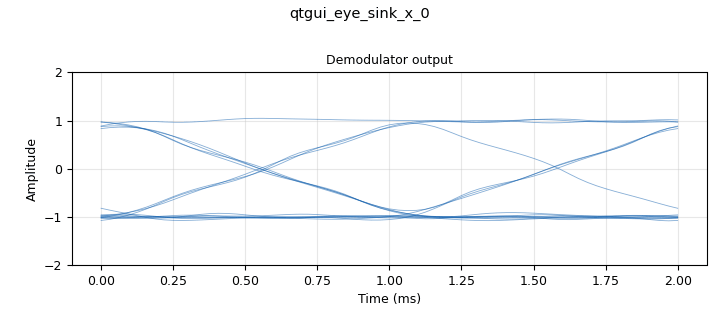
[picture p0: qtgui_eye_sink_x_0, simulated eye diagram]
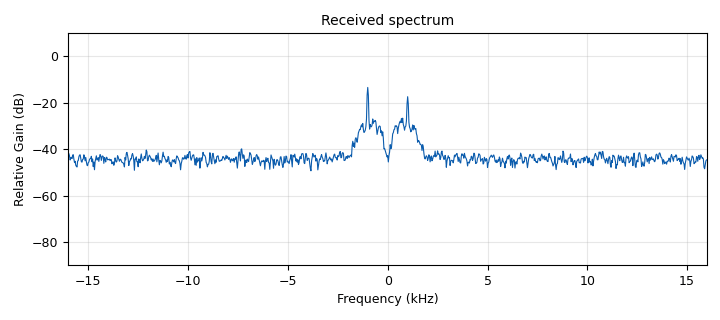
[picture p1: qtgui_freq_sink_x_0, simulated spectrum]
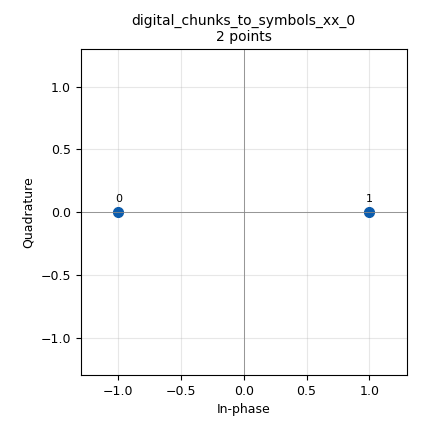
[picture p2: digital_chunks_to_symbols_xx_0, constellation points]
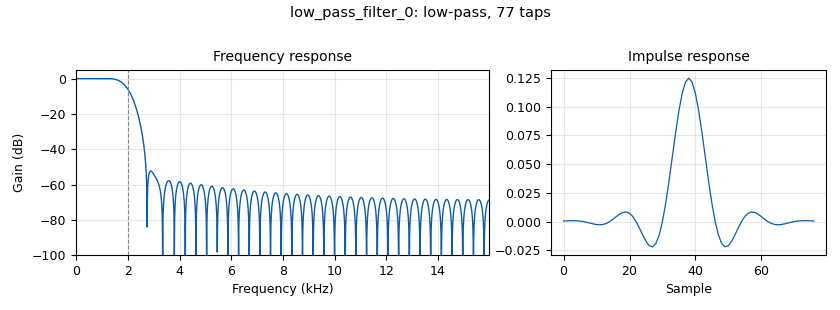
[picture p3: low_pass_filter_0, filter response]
options:
  parameters:
    author: ECE 448
    description: 'L8: a text message through an FSK transmitter, a noisy channel, and an FSK receiver. Raise the noise or the frequency offset until the text breaks.'
    generate_options: qt_gui
    id: L08_fsk_link
    output_language: python
    title: L8 - FSK Link
  states: {}

blocks:
- name: dev
  id: variable
  parameters:
    value: '1000'
  states: {}
- name: foff
  id: variable_qtgui_range
  parameters:
    gui_hint: 0,1,1,1
    label: Frequency offset (Hz)
    start: '-1500'
    step: '50'
    stop: '1500'
    value: '0'
  states: {}
- name: hdr
  id: variable
  parameters:
    value: digital.header_format_default(digital.packet_utils.default_access_code, 0)
  states: {}
- name: msg
  id: variable
  parameters:
    value: '''USAFA ECE 448: FSK over a noisy channel.'''
  states: {}
- name: noise
  id: variable_qtgui_range
  parameters:
    gui_hint: 0,0,1,1
    label: Noise voltage
    start: '0'
    step: '0.05'
    stop: '3'
    value: '0.5'
  states: {}
- name: rx_label
  id: variable_qtgui_label
  parameters:
    formatter: 'lambda x: '':  '' + x'
    gui_hint: 2,0,1,1
    label: Received
    type: string
    value: rx_text
  states: {}
- name: rx_stats
  id: variable_function_probe
  parameters:
    block_id: epy_block_0
    function_name: stats
    poll_rate: '4'
    value: ''''''
  states: {}
- name: rx_text
  id: variable_function_probe
  parameters:
    block_id: epy_block_0
    function_name: last_line
    poll_rate: '4'
    value: '''(waiting for a packet)'''
  states: {}
- name: samp_rate
  id: variable
  parameters:
    value: '32000'
  states: {}
- name: sps
  id: variable
  parameters:
    value: '32'
  states: {}
- name: stats_label
  id: variable_qtgui_label
  parameters:
    formatter: 'lambda x: '':  '' + x'
    gui_hint: 2,1,1,1
    label: Lines
    type: string
    value: rx_stats
  states: {}
- name: analog_frequency_modulator_fc_0
  id: analog_frequency_modulator_fc
  parameters:
    sensitivity: 2*math.pi*dev/samp_rate
  states: {}
- name: analog_quadrature_demod_cf_0
  id: analog_quadrature_demod_cf
  parameters:
    gain: samp_rate/(2*math.pi*dev)
  states: {}
- name: blocks_moving_average_xx_0
  id: blocks_moving_average_xx
  parameters:
    length: sps
    max_iter: '4000'
    scale: 1/sps
    type: float
  states: {}
- name: blocks_repack_bits_bb_0
  id: blocks_repack_bits_bb
  parameters:
    endianness: gr.GR_MSB_FIRST
    k: '1'
    l: '8'
    len_tag_key: '"packet_len"'
  states: {}
- name: blocks_repeat_0
  id: blocks_repeat
  parameters:
    interp: sps
    type: float
  states: {}
- name: blocks_stream_to_tagged_stream_0
  id: blocks_stream_to_tagged_stream
  parameters:
    len_tag_key: '"packet_len"'
    packet_len: len(msg) + 1
    type: byte
  states: {}
- name: blocks_tagged_stream_mux_0
  id: blocks_tagged_stream_mux
  parameters:
    lengthtagname: '"packet_len"'
    ninputs: '2'
    type: byte
  states: {}
- name: blocks_throttle2_0
  id: blocks_throttle2
  parameters:
    samples_per_second: samp_rate
    type: complex
  states: {}
- name: blocks_unpack_k_bits_bb_0
  id: blocks_unpack_k_bits_bb
  parameters:
    k: '8'
  states: {}
- name: blocks_vector_source_x_0
  id: blocks_vector_source_x
  parameters:
    repeat: 'True'
    type: byte
    vector: list(msg.encode()) + [10]
  states: {}
- name: channels_channel_model_0
  id: channels_channel_model
  parameters:
    epsilon: '1.0'
    freq_offset: foff/samp_rate
    noise_voltage: noise
    seed: '0'
    taps: '[1.0]'
  states: {}
- name: digital_binary_slicer_fb_0
  id: digital_binary_slicer_fb
  parameters: {}
  states: {}
- name: digital_chunks_to_symbols_xx_0
  id: digital_chunks_to_symbols_xx
  parameters:
    dimension: '1'
    in_type: byte
    out_type: float
    symbol_table: '[-1, 1]'
  states: {}
- name: digital_correlate_access_code_xx_ts_0
  id: digital_correlate_access_code_xx_ts
  parameters:
    access_code: digital.packet_utils.default_access_code
    tagname: '"packet_len"'
    threshold: '2'
    type: byte
  states: {}
- name: digital_protocol_formatter_bb_0
  id: digital_protocol_formatter_bb
  parameters:
    format: hdr
    len_tag_key: '"packet_len"'
  states: {}
- name: digital_symbol_sync_xx_0
  id: digital_symbol_sync_xx
  parameters:
    damping: '1.0'
    loop_bw: '0.045'
    max_dev: '1.5'
    osps: '1'
    resamp_type: digital.IR_MMSE_8TAP
    sps: sps
    ted_gain: '1.0'
    ted_type: digital.TED_GARDNER
    type: ff
  states: {}
- name: epy_block_0
  id: epy_block
  parameters:
    _source_code: |
      """Text Sink: shows each received packet as a line of text and counts the
      lines that match the transmitted message. The counts restart whenever a
      slider moves, because GRC sets `settings` each time noise or foff changes.
      Function Probes read last_line() and stats() for the QT GUI Labels."""

      import time

      import numpy as np
      import pmt
      from gnuradio import gr


      class blk(gr.sync_block):
          def __init__(self, expected='', settings=None):
              gr.sync_block.__init__(self, name='Text Sink', in_sig=[np.uint8], out_sig=None)
              self.expected = expected
              self.key = pmt.intern('packet_len')
              self.buf = ''
              self.line = '(waiting for a packet)'
              self.settings = settings

          @property
          def settings(self):
              return self._settings

          @settings.setter
          def settings(self, value):
              self._settings = value
              self.good = 0
              self.total = 0
              self.t0 = time.monotonic()

          def work(self, input_items, output_items):
              data = input_items[0]
              start = self.nitems_read(0)
              # Each packet starts with a packet_len tag, so a corrupted newline
              # cannot run two packets together.
              marks = {t.offset - start for t in self.get_tags_in_window(0, 0, len(data), self.key)}
              for i, b in enumerate(data):
                  if i in marks and self.buf:
                      self.finish()
                  self.buf += chr(b) if 32 <= b < 127 or b == 10 else '?'
              return len(data)

          def finish(self):
              self.line = self.buf[:-1] if self.buf.endswith('\n') else self.buf
              self.total += 1
              self.good += self.buf == self.expected + '\n'
              self.buf = ''

          def last_line(self):
              return self.line

          def stats(self):
              return f'{self.good} correct of {self.total} received in {time.monotonic() - self.t0:.0f} s'
    expected: msg
    settings: (noise, foff)
  states: {}
- name: import_0
  id: import
  parameters:
    imports: import math
  states: {}
- name: low_pass_filter_0
  id: low_pass_filter
  parameters:
    cutoff_freq: dev + samp_rate/sps
    decim: '1'
    gain: '1'
    samp_rate: samp_rate
    type: fir_filter_ccf
    width: '1000'
    win: window.WIN_HAMMING
  states: {}
- name: qtgui_eye_sink_x_0
  id: qtgui_eye_sink_x
  parameters:
    entags: 'False'
    grid: 'True'
    gui_hint: 1,1,1,1
    label1: Demodulator output
    legend: 'False'
    samp_per_symbol: sps
    size: '1024'
    srate: samp_rate
    type: float
    update_time: '0.1'
    ymax: '2'
    ymin: '-2'
  states: {}
- name: qtgui_freq_sink_x_0
  id: qtgui_freq_sink_x
  parameters:
    average: '0.1'
    bw: samp_rate
    fc: '0'
    fftsize: '1024'
    grid: 'True'
    gui_hint: 1,0,1,1
    legend: 'False'
    name: '"Received spectrum"'
    type: complex
    ymin: '-90'
  states: {}

connections:
- [analog_frequency_modulator_fc_0, '0', blocks_throttle2_0, '0']
- [analog_quadrature_demod_cf_0, '0', blocks_moving_average_xx_0, '0']
- [blocks_moving_average_xx_0, '0', digital_symbol_sync_xx_0, '0']
- [blocks_moving_average_xx_0, '0', qtgui_eye_sink_x_0, '0']
- [blocks_repack_bits_bb_0, '0', epy_block_0, '0']
- [blocks_repeat_0, '0', analog_frequency_modulator_fc_0, '0']
- [blocks_stream_to_tagged_stream_0, '0', blocks_tagged_stream_mux_0, '1']
- [blocks_stream_to_tagged_stream_0, '0', digital_protocol_formatter_bb_0, '0']
- [blocks_tagged_stream_mux_0, '0', blocks_unpack_k_bits_bb_0, '0']
- [blocks_throttle2_0, '0', channels_channel_model_0, '0']
- [blocks_unpack_k_bits_bb_0, '0', digital_chunks_to_symbols_xx_0, '0']
- [blocks_vector_source_x_0, '0', blocks_stream_to_tagged_stream_0, '0']
- [channels_channel_model_0, '0', low_pass_filter_0, '0']
- [channels_channel_model_0, '0', qtgui_freq_sink_x_0, '0']
- [digital_binary_slicer_fb_0, '0', digital_correlate_access_code_xx_ts_0, '0']
- [digital_chunks_to_symbols_xx_0, '0', blocks_repeat_0, '0']
- [digital_correlate_access_code_xx_ts_0, '0', blocks_repack_bits_bb_0, '0']
- [digital_protocol_formatter_bb_0, '0', blocks_tagged_stream_mux_0, '0']
- [digital_symbol_sync_xx_0, '0', digital_binary_slicer_fb_0, '0']
- [low_pass_filter_0, '0', analog_quadrature_demod_cf_0, '0']

metadata:
  file_format: 1
  grc_version: 3.10.9.2
